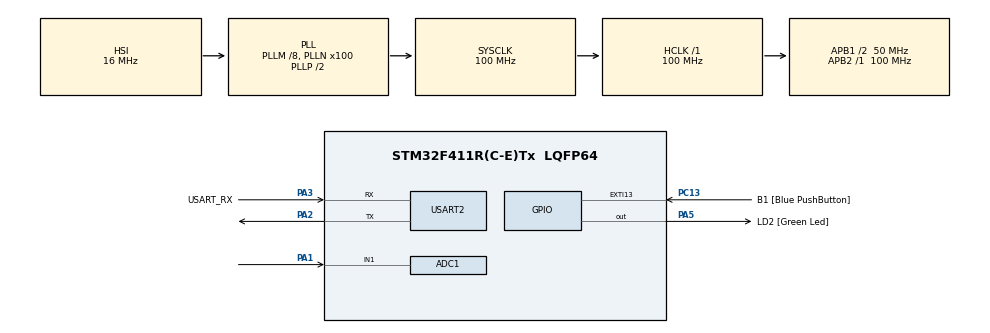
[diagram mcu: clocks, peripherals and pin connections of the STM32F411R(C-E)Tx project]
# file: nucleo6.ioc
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ADC1.Channel-0\#ChannelRegularConversion=ADC_CHANNEL_1
ADC1.Channel-1\#ChannelRegularConversion=ADC_CHANNEL_TEMPSENSOR
ADC1.Channel-2\#ChannelRegularConversion=ADC_CHANNEL_VREFINT
ADC1.DMAContinuousRequests=ENABLE
ADC1.EnableAnalogWatchDog=true
ADC1.ExternalTrigConv=ADC_EXTERNALTRIGCONV_T2_TRGO
ADC1.HighThreshold=2000
ADC1.ITMode=ENABLE
ADC1.NbrOfConversion=3
ADC1.NbrOfConversionFlag=1
ADC1.Rank-0\#ChannelRegularConversion=1
ADC1.Rank-1\#ChannelRegularConversion=2
ADC1.Rank-2\#ChannelRegularConversion=3
ADC1.SamplingTime-0\#ChannelRegularConversion=ADC_SAMPLETIME_480CYCLES
ADC1.SamplingTime-1\#ChannelRegularConversion=ADC_SAMPLETIME_480CYCLES
ADC1.SamplingTime-2\#ChannelRegularConversion=ADC_SAMPLETIME_480CYCLES
ADC1.ScanConvMode=ENABLE
ADC1.WatchdogChannel=ADC_CHANNEL_1
ADC1.master=1
Dma.ADC1.0.Direction=DMA_PERIPH_TO_MEMORY
Dma.ADC1.0.FIFOMode=DMA_FIFOMODE_DISABLE
Dma.ADC1.0.Instance=DMA2_Stream0
Dma.ADC1.0.MemDataAlignment=DMA_MDATAALIGN_HALFWORD
Dma.ADC1.0.MemInc=DMA_MINC_ENABLE
Dma.ADC1.0.Mode=DMA_CIRCULAR
Dma.ADC1.0.PeriphDataAlignment=DMA_PDATAALIGN_HALFWORD
Dma.ADC1.0.PeriphInc=DMA_PINC_DISABLE
Dma.ADC1.0.Priority=DMA_PRIORITY_LOW
Dma.Request0=ADC1
Mcu.Family=STM32F4
Mcu.Name=STM32F411R(C-E)Tx
Mcu.Package=LQFP64
NVIC.ADC_IRQn=true\:0\:0\:false\:false\:true\:true\:true\:true
NVIC.DMA2_Stream0_IRQn=true\:0\:0\:false\:false\:true\:false\:true\:true
NVIC.PriorityGroup=NVIC_PRIORITYGROUP_0
PA1.Signal=ADCx_IN1
PA13.GPIO_Label=TMS
PA13.Mode=Serial_Wire
PA13.Signal=SYS_JTMS-SWDIO
PA14.GPIO_Label=TCK
PA14.Mode=Serial_Wire
PA14.Signal=SYS_JTCK-SWCLK
PA2.Mode=Asynchronous
PA2.Signal=USART2_TX
PA3.GPIO_Label=USART_RX
PA3.Mode=Asynchronous
PA3.Signal=USART2_RX
PA5.GPIO_Label=LD2 [Green Led]
PA5.Signal=GPIO_Output
PB3.GPIO_Label=SWO
PB3.Signal=SYS_JTDO-SWO
PC13-ANTI_TAMP.GPIO_Label=B1 [Blue PushButton]
PC13-ANTI_TAMP.GPIO_ModeDefaultEXTI=GPIO_MODE_IT_FALLING
PC13-ANTI_TAMP.Signal=GPXTI13
PC14-OSC32_IN.Mode=LSE-External-Oscillator
PC14-OSC32_IN.Signal=RCC_OSC32_IN
PC15-OSC32_OUT.Mode=LSE-External-Oscillator
PC15-OSC32_OUT.Signal=RCC_OSC32_OUT
PH0\ -\ OSC_IN.Mode=HSE-External-Clock-Source
PH0\ -\ OSC_IN.Signal=RCC_OSC_IN
PH1\ -\ OSC_OUT.Mode=HSE-External-Clock-Source
PH1\ -\ OSC_OUT.Signal=RCC_OSC_OUT
ProjectManager.HeapSize=0x200
ProjectManager.StackSize=0x400
ProjectManager.TargetToolchain=STM32CubeIDE
RCC.48MHZClocksFreq_Value=50000000
RCC.AHBFreq_Value=100000000
RCC.APB1CLKDivider=RCC_HCLK_DIV2
RCC.APB1Freq_Value=50000000
RCC.APB1TimFreq_Value=100000000
RCC.APB2Freq_Value=100000000
RCC.APB2TimFreq_Value=100000000
RCC.CortexFreq_Value=100000000
RCC.FLatency-AdvancedSettings=FLASH_LATENCY_3
RCC.HCLKFreq_Value=100000000
RCC.HSE_VALUE=8000000
RCC.HSI_VALUE=16000000
RCC.PLLM=8
RCC.PLLN=100
RCC.SYSCLKFreq_VALUE=100000000
RCC.SYSCLKSource=RCC_SYSCLKSOURCE_PLLCLK
RCC.VCOOutputFreq_Value=200000000
SH.ADCx_IN1.0=ADC1_IN1,IN1
TIM2.Period=999999
TIM2.Prescaler=9999
TIM2.TIM_MasterOutputTrigger=TIM_TRGO_UPDATE
USART2.VirtualMode=VM_ASYNC
VP_ADC1_TempSens_Input.Mode=IN-TempSens
VP_ADC1_Vref_Input.Mode=IN-Vrefint
VP_TIM2_VS_ClockSourceINT.Mode=Internal
board=NUCLEO-F411RE

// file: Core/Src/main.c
/* USER CODE BEGIN Header */
/**
  ******************************************************************************
  * @file           : main.c
  * @brief          : Main program body
  ******************************************************************************
  * @attention
  *
  * Copyright (c) 2022 STMicroelectronics.
  * All rights reserved.
  *
  * This software is licensed under terms that can be found in the LICENSE file
  * in the root directory of this software component.
  * If no LICENSE file comes with this software, it is provided AS-IS.
  *
  ******************************************************************************
  */
/* USER CODE END Header */
#include "main.h"

/* USER CODE BEGIN PD */
uint16_t ADCDMABuff[3];
int flaga = 1;
/* USER CODE END PD */

ADC_HandleTypeDef hadc1;
DMA_HandleTypeDef hdma_adc1;

TIM_HandleTypeDef htim2;

UART_HandleTypeDef huart2;

void SystemClock_Config(void);
static void MX_GPIO_Init(void);
static void MX_DMA_Init(void);
static void MX_ADC1_Init(void);
static void MX_TIM2_Init(void);
static void MX_USART2_UART_Init(void);

/* USER CODE BEGIN 0 */
int __io_putchar(int ch) {
    HAL_UART_Transmit(&huart2, (uint8_t *)&ch, 1, 0xFFFF);
    return ch;
}

int getchar(void) {
    uint8_t value;
    if( __HAL_UART_GET_FLAG(&huart2, UART_FLAG_RXNE) != SET )
    return( -1 );
    if (__HAL_UART_GET_FLAG(&huart2, UART_FLAG_RXNE) == SET)
    HAL_UART_Receive(&huart2, &value, 1, 100);
    __io_putchar( value );
    return ((int) value);
}

double Res = 0;
double Temp = 0;
double Vref = 0;
/* USER CODE END 0 */

int main(void)
{

  /* MCU Configuration--------------------------------------------------------*/

  /* Reset of all peripherals, Initializes the Flash interface and the Systick. */
  HAL_Init();

  /* Configure the system clock */
  SystemClock_Config();

  /* Initialize all configured peripherals */
  MX_GPIO_Init();
  MX_DMA_Init();
  MX_ADC1_Init();
  MX_TIM2_Init();
  MX_USART2_UART_Init();
  /* USER CODE BEGIN 2 */
  HAL_TIM_Base_Start(&htim2);
  HAL_ADC_Start_DMA(&hadc1, (uint32_t *)ADCDMABuff, 3);
  /* USER CODE END 2 */

  /* Infinite loop */
  while (1)
  {
	  if (flaga == 1){
		  flaga = 0; /* Zmiana flagi*/
		  Res = 3.3*(double)ADCDMABuff[0]/4095; /* < - Dodać przeskalowanie */
		  Temp = 3.3*(double)ADCDMABuff[1]/4095+25; /* < - Dodać przeskalowanie */
		  Vref = 3.3*(double)ADCDMABuff[2]/4095; /* < - Dodać przeskalowanie */
		  printf("%f [V], %f [st. C], %f [V]\n\r", (double)Res, (double)Temp, (double)Vref);

		  }
  }
}

void SystemClock_Config(void)
{
  RCC_OscInitTypeDef RCC_OscInitStruct = {0};
  RCC_ClkInitTypeDef RCC_ClkInitStruct = {0};

  /** Configure the main internal regulator output voltage
  */
  __HAL_RCC_PWR_CLK_ENABLE();
  __HAL_PWR_VOLTAGESCALING_CONFIG(PWR_REGULATOR_VOLTAGE_SCALE1);

  /** Initializes the RCC Oscillators according to the specified parameters
  * in the RCC_OscInitTypeDef structure.
  */
  RCC_OscInitStruct.OscillatorType = RCC_OSCILLATORTYPE_HSI;
  RCC_OscInitStruct.HSIState = RCC_HSI_ON;
  RCC_OscInitStruct.HSICalibrationValue = RCC_HSICALIBRATION_DEFAULT;
  RCC_OscInitStruct.PLL.PLLState = RCC_PLL_ON;
  RCC_OscInitStruct.PLL.PLLSource = RCC_PLLSOURCE_HSI;
  RCC_OscInitStruct.PLL.PLLM = 8;
  RCC_OscInitStruct.PLL.PLLN = 100;
  RCC_OscInitStruct.PLL.PLLP = RCC_PLLP_DIV2;
  RCC_OscInitStruct.PLL.PLLQ = 4;
  if (HAL_RCC_OscConfig(&RCC_OscInitStruct) != HAL_OK)
  {
    Error_Handler();
  }

  /** Initializes the CPU, AHB and APB buses clocks
  */
  RCC_ClkInitStruct.ClockType = RCC_CLOCKTYPE_HCLK|RCC_CLOCKTYPE_SYSCLK
                              |RCC_CLOCKTYPE_PCLK1|RCC_CLOCKTYPE_PCLK2;
  RCC_ClkInitStruct.SYSCLKSource = RCC_SYSCLKSOURCE_PLLCLK;
  RCC_ClkInitStruct.AHBCLKDivider = RCC_SYSCLK_DIV1;
  RCC_ClkInitStruct.APB1CLKDivider = RCC_HCLK_DIV2;
  RCC_ClkInitStruct.APB2CLKDivider = RCC_HCLK_DIV1;

  if (HAL_RCC_ClockConfig(&RCC_ClkInitStruct, FLASH_LATENCY_3) != HAL_OK)
  {
    Error_Handler();
  }
}

static void MX_ADC1_Init(void)
{

  ADC_AnalogWDGConfTypeDef AnalogWDGConfig = {0};
  ADC_ChannelConfTypeDef sConfig = {0};

  /** Configure the global features of the ADC (Clock, Resolution, Data Alignment and number of conversion)
  */
  hadc1.Instance = ADC1;
  hadc1.Init.ClockPrescaler = ADC_CLOCK_SYNC_PCLK_DIV4;
  hadc1.Init.Resolution = ADC_RESOLUTION_12B;
  hadc1.Init.ScanConvMode = ENABLE;
  hadc1.Init.ContinuousConvMode = DISABLE;
  hadc1.Init.DiscontinuousConvMode = DISABLE;
  hadc1.Init.ExternalTrigConvEdge = ADC_EXTERNALTRIGCONVEDGE_RISING;
  hadc1.Init.ExternalTrigConv = ADC_EXTERNALTRIGCONV_T2_TRGO;
  hadc1.Init.DataAlign = ADC_DATAALIGN_RIGHT;
  hadc1.Init.NbrOfConversion = 3;
  hadc1.Init.DMAContinuousRequests = ENABLE;
  hadc1.Init.EOCSelection = ADC_EOC_SINGLE_CONV;
  if (HAL_ADC_Init(&hadc1) != HAL_OK)
  {
    Error_Handler();
  }

  /** Configure the analog watchdog
  */
  AnalogWDGConfig.WatchdogMode = ADC_ANALOGWATCHDOG_SINGLE_REG;
  AnalogWDGConfig.HighThreshold = 2000;
  AnalogWDGConfig.LowThreshold = 0;
  AnalogWDGConfig.Channel = ADC_CHANNEL_1;
  AnalogWDGConfig.ITMode = ENABLE;
  if (HAL_ADC_AnalogWDGConfig(&hadc1, &AnalogWDGConfig) != HAL_OK)
  {
    Error_Handler();
  }

  /** Configure for the selected ADC regular channel its corresponding rank in the sequencer and its sample time.
  */
  sConfig.Channel = ADC_CHANNEL_1;
  sConfig.Rank = 1;
  sConfig.SamplingTime = ADC_SAMPLETIME_480CYCLES;
  if (HAL_ADC_ConfigChannel(&hadc1, &sConfig) != HAL_OK)
  {
    Error_Handler();
  }

  /** Configure for the selected ADC regular channel its corresponding rank in the sequencer and its sample time.
  */
  sConfig.Channel = ADC_CHANNEL_TEMPSENSOR;
  sConfig.Rank = 2;
  if (HAL_ADC_ConfigChannel(&hadc1, &sConfig) != HAL_OK)
  {
    Error_Handler();
  }

  /** Configure for the selected ADC regular channel its corresponding rank in the sequencer and its sample time.
  */
  sConfig.Channel = ADC_CHANNEL_VREFINT;
  sConfig.Rank = 3;
  if (HAL_ADC_ConfigChannel(&hadc1, &sConfig) != HAL_OK)
  {
    Error_Handler();
  }

}

static void MX_TIM2_Init(void)
{

  TIM_ClockConfigTypeDef sClockSourceConfig = {0};
  TIM_MasterConfigTypeDef sMasterConfig = {0};

  htim2.Instance = TIM2;
  htim2.Init.Prescaler = 9999;
  htim2.Init.CounterMode = TIM_COUNTERMODE_UP;
  htim2.Init.Period = 9999;
  htim2.Init.ClockDivision = TIM_CLOCKDIVISION_DIV1;
  htim2.Init.AutoReloadPreload = TIM_AUTORELOAD_PRELOAD_DISABLE;
  if (HAL_TIM_Base_Init(&htim2) != HAL_OK)
  {
    Error_Handler();
  }
  sClockSourceConfig.ClockSource = TIM_CLOCKSOURCE_INTERNAL;
  if (HAL_TIM_ConfigClockSource(&htim2, &sClockSourceConfig) != HAL_OK)
  {
    Error_Handler();
  }
  sMasterConfig.MasterOutputTrigger = TIM_TRGO_UPDATE;
  sMasterConfig.MasterSlaveMode = TIM_MASTERSLAVEMODE_DISABLE;
  if (HAL_TIMEx_MasterConfigSynchronization(&htim2, &sMasterConfig) != HAL_OK)
  {
    Error_Handler();
  }

}

static void MX_USART2_UART_Init(void)
{

  huart2.Instance = USART2;
  huart2.Init.BaudRate = 115200;
  huart2.Init.WordLength = UART_WORDLENGTH_8B;
  huart2.Init.StopBits = UART_STOPBITS_1;
  huart2.Init.Parity = UART_PARITY_NONE;
  huart2.Init.Mode = UART_MODE_TX_RX;
  huart2.Init.HwFlowCtl = UART_HWCONTROL_NONE;
  huart2.Init.OverSampling = UART_OVERSAMPLING_16;
  if (HAL_UART_Init(&huart2) != HAL_OK)
  {
    Error_Handler();
  }

}

static void MX_DMA_Init(void)
{

  /* DMA controller clock enable */
  __HAL_RCC_DMA2_CLK_ENABLE();

  /* DMA interrupt init */
  /* DMA2_Stream0_IRQn interrupt configuration */
  HAL_NVIC_SetPriority(DMA2_Stream0_IRQn, 0, 0);
  HAL_NVIC_EnableIRQ(DMA2_Stream0_IRQn);

}

static void MX_GPIO_Init(void)
{
  GPIO_InitTypeDef GPIO_InitStruct = {0};

  /* GPIO Ports Clock Enable */
  __HAL_RCC_GPIOC_CLK_ENABLE();
  __HAL_RCC_GPIOH_CLK_ENABLE();
  __HAL_RCC_GPIOA_CLK_ENABLE();
  __HAL_RCC_GPIOB_CLK_ENABLE();

  /*Configure GPIO pin Output Level */
  HAL_GPIO_WritePin(LD2_GPIO_Port, LD2_Pin, GPIO_PIN_RESET);

  /*Configure GPIO pin : B1_Pin */
  GPIO_InitStruct.Pin = B1_Pin;
  GPIO_InitStruct.Mode = GPIO_MODE_IT_FALLING;
  GPIO_InitStruct.Pull = GPIO_NOPULL;
  HAL_GPIO_Init(B1_GPIO_Port, &GPIO_InitStruct);

  /*Configure GPIO pin : LD2_Pin */
  GPIO_InitStruct.Pin = LD2_Pin;
  GPIO_InitStruct.Mode = GPIO_MODE_OUTPUT_PP;
  GPIO_InitStruct.Pull = GPIO_NOPULL;
  GPIO_InitStruct.Speed = GPIO_SPEED_FREQ_LOW;
  HAL_GPIO_Init(LD2_GPIO_Port, &GPIO_InitStruct);

}

/* USER CODE BEGIN 4 */
void HAL_ADC_ConvCpltCallback(ADC_HandleTypeDef* hadc) {
	flaga = 1;
}
void HAL_ADC_LevelOutOfWindowCallback(ADC_HandleTypeDef* hadc) {
	printf("!!!! OUT OF WINDOW INTERRUPT !!!!\r\n");
}
/* USER CODE END 4 */

void Error_Handler(void)
{
  __disable_irq();
  while (1)
  {
  }
}
